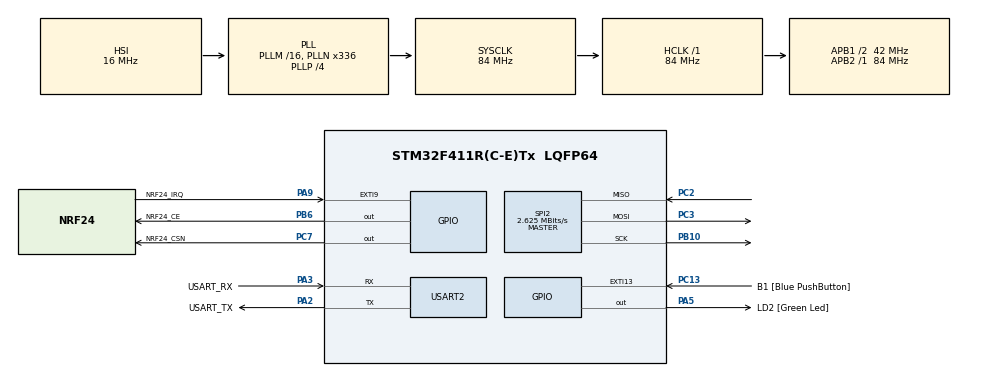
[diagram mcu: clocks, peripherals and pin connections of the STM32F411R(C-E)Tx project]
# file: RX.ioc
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Mcu.Family=STM32F4
Mcu.Name=STM32F411R(C-E)Tx
Mcu.Package=LQFP64
NVIC.EXTI15_10_IRQn=true\:0\:0\:false\:false\:true\:true\:true\:true
NVIC.EXTI9_5_IRQn=true\:0\:0\:false\:false\:true\:true\:true\:true
NVIC.PriorityGroup=NVIC_PRIORITYGROUP_0
NVIC.USART2_IRQn=true\:0\:0\:false\:false\:true\:true\:true\:true
PA13.GPIO_Label=TMS
PA13.Mode=Serial_Wire
PA13.Signal=SYS_JTMS-SWDIO
PA14.GPIO_Label=TCK
PA14.Mode=Serial_Wire
PA14.Signal=SYS_JTCK-SWCLK
PA2.GPIO_Label=USART_TX
PA2.Mode=Asynchronous
PA2.Signal=USART2_TX
PA3.GPIO_Label=USART_RX
PA3.Mode=Asynchronous
PA3.Signal=USART2_RX
PA5.GPIO_Label=LD2 [Green Led]
PA5.Signal=GPIO_Output
PA9.GPIO_Label=NRF24_IRQ
PA9.Signal=GPXTI9
PB10.Mode=Full_Duplex_Master
PB10.Signal=SPI2_SCK
PB3.GPIO_Label=SWO
PB3.Signal=SYS_JTDO-SWO
PB6.GPIO_Label=NRF24_CE
PB6.Signal=GPIO_Output
PC13-ANTI_TAMP.GPIO_Label=B1 [Blue PushButton]
PC13-ANTI_TAMP.GPIO_ModeDefaultEXTI=GPIO_MODE_IT_FALLING
PC13-ANTI_TAMP.Signal=GPXTI13
PC14-OSC32_IN.Mode=LSE-External-Oscillator
PC14-OSC32_IN.Signal=RCC_OSC32_IN
PC15-OSC32_OUT.Mode=LSE-External-Oscillator
PC15-OSC32_OUT.Signal=RCC_OSC32_OUT
PC2.Mode=Full_Duplex_Master
PC2.Signal=SPI2_MISO
PC3.Mode=Full_Duplex_Master
PC3.Signal=SPI2_MOSI
PC7.GPIO_Label=NRF24_CSN
PC7.Signal=GPIO_Output
PH0\ -\ OSC_IN.Mode=HSE-External-Clock-Source
PH0\ -\ OSC_IN.Signal=RCC_OSC_IN
PH1\ -\ OSC_OUT.Mode=HSE-External-Clock-Source
PH1\ -\ OSC_OUT.Signal=RCC_OSC_OUT
ProjectManager.HeapSize=0x200
ProjectManager.StackSize=0x400
ProjectManager.TargetToolchain=STM32CubeIDE
RCC.48MHZClocksFreq_Value=84000000
RCC.AHBFreq_Value=84000000
RCC.APB1CLKDivider=RCC_HCLK_DIV2
RCC.APB1Freq_Value=42000000
RCC.APB1TimFreq_Value=84000000
RCC.APB2Freq_Value=84000000
RCC.APB2TimFreq_Value=84000000
RCC.CortexFreq_Value=84000000
RCC.FLatency-AdvancedSettings=FLASH_LATENCY_2
RCC.HCLKFreq_Value=84000000
RCC.HSE_VALUE=8000000
RCC.HSI_VALUE=16000000
RCC.PLLN=336
RCC.PLLP=RCC_PLLP_DIV4
RCC.SYSCLKFreq_VALUE=84000000
RCC.SYSCLKSource=RCC_SYSCLKSOURCE_PLLCLK
RCC.VCOOutputFreq_Value=336000000
SPI2.BaudRatePrescaler=SPI_BAUDRATEPRESCALER_16
SPI2.CalculateBaudRate=2.625 MBits/s
SPI2.Direction=SPI_DIRECTION_2LINES
SPI2.Mode=SPI_MODE_MASTER
SPI2.VirtualType=VM_MASTER
USART2.VirtualMode=VM_ASYNC
board=NUCLEO-F411RE

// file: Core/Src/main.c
/* USER CODE BEGIN Header */
/**
  ******************************************************************************
  * @file           : main.c
  * @brief          : Main program body
  ******************************************************************************
  * @attention
  *
  * Copyright (c) 2023 STMicroelectronics.
  * All rights reserved.
  *
  * This software is licensed under terms that can be found in the LICENSE file
  * in the root directory of this software component.
  * If no LICENSE file comes with this software, it is provided AS-IS.
  *
  ******************************************************************************
  */
/* USER CODE END Header */
#include "main.h"
#include "spi.h"
#include "usart.h"
#include "gpio.h"

/* USER CODE BEGIN Includes */
#include "stdio.h"
#include "nRF24_Defs.h"
#include "nRF24.h"
/* USER CODE END Includes */

/* USER CODE BEGIN PD */
volatile uint8_t nrf24_rx_flag, nrf24_tx_flag, nrf24_mr_flag;
uint8_t Nrf24_Message[NRF24_PAYLOAD_SIZE];
uint8_t Message[32];
uint8_t MessageLength;

int __io_putchar(int ch){
  if (ch == '\n') {
    __io_putchar('\r');
  }
  HAL_UART_Transmit(&huart2, (uint8_t*)&ch, 1, HAL_MAX_DELAY);
  return 1;
}
/* USER CODE END PD */

void SystemClock_Config(void);

int main(void)
{

  /* MCU Configuration--------------------------------------------------------*/

  /* Reset of all peripherals, Initializes the Flash interface and the Systick. */
  HAL_Init();

  /* Configure the system clock */
  SystemClock_Config();

  /* Initialize all configured peripherals */
  MX_GPIO_Init();
  MX_USART2_UART_Init();
  MX_SPI2_Init();
  /* USER CODE BEGIN 2 */
  nRF24_Init(&hspi2);
  nRF24_SetRXAddress(0, "Odb");
  nRF24_SetTXAddress("Nad");
  nRF24_RX_Mode();
  /* USER CODE END 2 */

  /* Infinite loop */
  /* USER CODE BEGIN WHILE */
  while (1)
  {
	  if(nRF24_RXAvailible())
	  {
		  nRF24_ReadRXPaylaod(Nrf24_Message);
		  if(Message[0]==0x39){
			  //HAL_GPIO_WritePin(LD2_GPIO_Port, LD2_Pin, GPIO_PIN_SET);
			  HAL_GPIO_TogglePin(LD2_GPIO_Port, LD2_Pin);
		  }
		  MessageLength = sprintf(Message, "%c\n\r", Nrf24_Message[0]);
		  HAL_UART_Transmit(&huart2, Message, MessageLength, 1000);
	  }
    /* USER CODE END WHILE */

  }
}

void SystemClock_Config(void)
{
  RCC_OscInitTypeDef RCC_OscInitStruct = {0};
  RCC_ClkInitTypeDef RCC_ClkInitStruct = {0};

  /** Configure the main internal regulator output voltage
  */
  __HAL_RCC_PWR_CLK_ENABLE();
  __HAL_PWR_VOLTAGESCALING_CONFIG(PWR_REGULATOR_VOLTAGE_SCALE1);

  /** Initializes the RCC Oscillators according to the specified parameters
  * in the RCC_OscInitTypeDef structure.
  */
  RCC_OscInitStruct.OscillatorType = RCC_OSCILLATORTYPE_HSI;
  RCC_OscInitStruct.HSIState = RCC_HSI_ON;
  RCC_OscInitStruct.HSICalibrationValue = RCC_HSICALIBRATION_DEFAULT;
  RCC_OscInitStruct.PLL.PLLState = RCC_PLL_ON;
  RCC_OscInitStruct.PLL.PLLSource = RCC_PLLSOURCE_HSI;
  RCC_OscInitStruct.PLL.PLLM = 16;
  RCC_OscInitStruct.PLL.PLLN = 336;
  RCC_OscInitStruct.PLL.PLLP = RCC_PLLP_DIV4;
  RCC_OscInitStruct.PLL.PLLQ = 4;
  if (HAL_RCC_OscConfig(&RCC_OscInitStruct) != HAL_OK)
  {
    Error_Handler();
  }

  /** Initializes the CPU, AHB and APB buses clocks
  */
  RCC_ClkInitStruct.ClockType = RCC_CLOCKTYPE_HCLK|RCC_CLOCKTYPE_SYSCLK
                              |RCC_CLOCKTYPE_PCLK1|RCC_CLOCKTYPE_PCLK2;
  RCC_ClkInitStruct.SYSCLKSource = RCC_SYSCLKSOURCE_PLLCLK;
  RCC_ClkInitStruct.AHBCLKDivider = RCC_SYSCLK_DIV1;
  RCC_ClkInitStruct.APB1CLKDivider = RCC_HCLK_DIV2;
  RCC_ClkInitStruct.APB2CLKDivider = RCC_HCLK_DIV1;

  if (HAL_RCC_ClockConfig(&RCC_ClkInitStruct, FLASH_LATENCY_2) != HAL_OK)
  {
    Error_Handler();
  }
}

void Error_Handler(void)
{
  __disable_irq();
  while (1)
  {
  }
}
